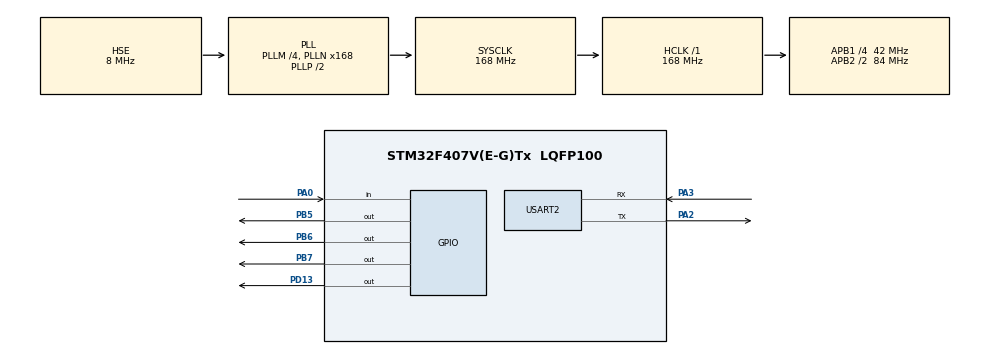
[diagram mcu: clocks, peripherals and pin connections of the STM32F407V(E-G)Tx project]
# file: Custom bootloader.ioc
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Mcu.Family=STM32F4
Mcu.Name=STM32F407V(E-G)Tx
Mcu.Package=LQFP100
NVIC.PriorityGroup=NVIC_PRIORITYGROUP_0
PA0-WKUP.Signal=GPIO_Input
PA2.Mode=Asynchronous
PA2.Signal=USART2_TX
PA3.Mode=Asynchronous
PA3.Signal=USART2_RX
PB5.Signal=GPIO_Output
PB6.Signal=GPIO_Output
PB7.Signal=GPIO_Output
PD13.Signal=GPIO_Output
PH0-OSC_IN.Mode=HSE-External-Oscillator
PH0-OSC_IN.Signal=RCC_OSC_IN
PH1-OSC_OUT.Mode=HSE-External-Oscillator
PH1-OSC_OUT.Signal=RCC_OSC_OUT
ProjectManager.HeapSize=0x200
ProjectManager.StackSize=0x400
ProjectManager.TargetToolchain=STM32CubeIDE
RCC.48MHZClocksFreq_Value=48000000
RCC.AHBFreq_Value=168000000
RCC.APB1CLKDivider=RCC_HCLK_DIV4
RCC.APB1Freq_Value=42000000
RCC.APB1TimFreq_Value=84000000
RCC.APB2CLKDivider=RCC_HCLK_DIV2
RCC.APB2Freq_Value=84000000
RCC.APB2TimFreq_Value=168000000
RCC.CortexFreq_Value=168000000
RCC.HCLKFreq_Value=168000000
RCC.HSE_VALUE=8000000
RCC.HSI_VALUE=16000000
RCC.LSE_VALUE=32768
RCC.PLLM=4
RCC.PLLN=168
RCC.PLLQ=7
RCC.PLLSourceVirtual=RCC_PLLSOURCE_HSE
RCC.SYSCLKFreq_VALUE=168000000
RCC.SYSCLKSource=RCC_SYSCLKSOURCE_PLLCLK
RCC.VCOOutputFreq_Value=336000000
USART2.Parity=PARITY_NONE
USART2.VirtualMode=VM_ASYNC
VP_CRC_VS_CRC.Mode=CRC_Activate
board=STM32F407G-DISC1

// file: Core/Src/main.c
/* USER CODE BEGIN Header */
/**
 ******************************************************************************
 * @file           : main.c
 * @brief          : Main program body — Geliştirilmiş Güvenli Bootloader
 ******************************************************************************
 * @attention
 *
 * Copyright (c) 2026 STMicroelectronics.
 * All rights reserved.
 *
 * This software is licensed under terms that can be found in the LICENSE file
 * in the root directory of this software component.
 * If no LICENSE file comes with this software, it is provided AS-IS.
 *
 ******************************************************************************
 */
/* USER CODE END Header */

/* USER CODE BEGIN Includes */

#include "main.h"
#include "aes.h"
#include "crc.h"
#include "gpio.h"
#include "usart.h"
#include <stdio.h>
#include <string.h>

#define ACK 0x06
#define NACK 0x15
#define APP_ADDRESS 0x08008000
#define PACKET_SIZE 128
#define VERSION_ADDRESS                                                        \
  0x0800FC00 // Son sektörün bir bölümü — versiyon bilgisi saklanır

// ── AES Key Flash Storage (Sector 1 = 0x08004000, 16KB) ──
// Format: [MAGIC:4] [AES_KEY:32] [CRC32:4] = 40 byte
#define KEY_STORAGE_ADDR 0x08004000
#define KEY_STORAGE_SECTOR FLASH_SECTOR_1
#define KEY_MAGIC 0xDEADBEEF
#define KEY_UPDATE_MAGIC                                                       \
  0xA5A5A5A5 // Şifresi çözülen paketteki doğrulama değeri

// LED Pinleri (PB5, PB6, PB7)
#define LED_ERROR_PORT GPIOB
#define LED_ERROR_PIN GPIO_PIN_5 // Hata LED'i
#define LED_TRANSFER_PORT GPIOB
#define LED_TRANSFER_PIN GPIO_PIN_6 // Transfer LED'i
#define LED_BOOT_PORT GPIOB
#define LED_BOOT_PIN GPIO_PIN_7 // Bootloader bekleme LED'i
#define HAL_MAX_DELAY 0xFFFFFFFFU

// Watchdog timeout ~4 saniye (LSI ≈ 32kHz, prescaler=64 → 500Hz, reload=2000 →
// 4s)
#define IWDG_PRESCALER_VAL 4 // Prescaler /64 (PR register value)
#define IWDG_RELOAD_VAL 2000

extern CRC_HandleTypeDef hcrc;
extern void MX_CRC_Init(void);
/* USER CODE END Includes */

/* USER CODE BEGIN PTD */

// Varsayılan AES key (ilk boot veya flash bozuk olduğunda kullanılır)
static const uint8_t DEFAULT_AES_KEY[32] = {
    0x31, 0x32, 0x33, 0x34, 0x35, 0x36, 0x37, 0x38, 0x39, 0x30, 0x31,
    0x32, 0x33, 0x34, 0x35, 0x36, 0x37, 0x38, 0x39, 0x30, 0x31, 0x32,
    0x33, 0x34, 0x35, 0x36, 0x37, 0x38, 0x39, 0x30, 0x31, 0x32};

// Aktif AES key — boot'ta flash'tan yüklenir
uint8_t AES_KEY[32];

uint8_t AES_IV[16] = {0x61, 0x62, 0x63, 0x64, 0x65, 0x66, 0x67, 0x68,
                      0x69, 0x6a, 0x6b, 0x6c, 0x6d, 0x6e, 0x6f, 0x70};

// Metadata yapısı — Python'dan ilk pakette gelir
typedef struct {
  uint32_t firmware_size;    // Firmware boyutu (byte)
  uint32_t firmware_version; // Firmware versiyonu
  uint32_t firmware_crc32;   // Tüm firmware'in CRC-32'si
} Firmware_Metadata_t;

// Watchdog — doğrudan register erişimi (HAL driver gerektirmez)

/* USER CODE END PTD */

/* USER CODE BEGIN PD */
void Bootloader_Menu(void);
void Bootloader_Handle_Secure_Write(void);
void Bootloader_Handle_Key_Update(void);
void Flash_Erase_Application(void);
void jump_to_application(void);
void LED_Set_Status(uint8_t status_code);
void LED_Blink_Error(uint8_t count);
void IWDG_Init(void);
uint32_t Flash_Read_Version(void);
void Flash_Write_Version(uint32_t version);
void load_key_from_flash(void);

// LED durum kodları
#define LED_STATUS_IDLE 0     // PB7 yanıp sönüyor
#define LED_STATUS_TRANSFER 1 // PB6 yanıyor
#define LED_STATUS_DONE 2     // PB5 yanıyor
#define LED_STATUS_ERROR 3    // Hepsi hızlı yanıp sönüyor

/* USER CODE END PD */

void SystemClock_Config(void);

/* USER CODE BEGIN 0 */

typedef struct {
  uint8_t sof;        // Start of Frame (0xAA)
  uint8_t command;    // Komut tipi
  uint16_t length;    // Veri uzunluğu
  uint8_t data[1024]; // Veri (Maksimum 1KB)
  uint32_t crc;       // Hata kontrolü
} Bootloader_Packet_t;

/* USER CODE END 0 */

int main(void) {

  /* MCU Configuration--------------------------------------------------------*/

  /* Reset of all peripherals, Initializes the Flash interface and the Systick.
   */
  HAL_Init();

  /* Configure the system clock */
  SystemClock_Config();

  /* Initialize all configured peripherals */
  MX_GPIO_Init();
  MX_USART2_UART_Init();
  MX_CRC_Init();
  /* USER CODE BEGIN 2 */
  SCB->VTOR = 0x08000000;

  // AES key'i flash'tan yükle (sector 1)
  load_key_from_flash();

  if (HAL_GPIO_ReadPin(GPIOA, GPIO_PIN_0) == GPIO_PIN_SET) {
    HAL_GPIO_WritePin(GPIOB, GPIO_PIN_7, GPIO_PIN_SET);
    Bootloader_Menu();
  } else {
    jump_to_application();
  }
  /* USER CODE END 2 */

  /* Infinite loop */
  while (1) {

  }
}

void SystemClock_Config(void) {
  RCC_OscInitTypeDef RCC_OscInitStruct = {0};
  RCC_ClkInitTypeDef RCC_ClkInitStruct = {0};

  /** Configure the main internal regulator output voltage
   */
  __HAL_RCC_PWR_CLK_ENABLE();
  __HAL_PWR_VOLTAGESCALING_CONFIG(PWR_REGULATOR_VOLTAGE_SCALE1);

  /** Initializes the RCC Oscillators according to the specified parameters
   * in the RCC_OscInitTypeDef structure.
   */
  RCC_OscInitStruct.OscillatorType =
      RCC_OSCILLATORTYPE_HSE | RCC_OSCILLATORTYPE_LSI;
  RCC_OscInitStruct.HSEState = RCC_HSE_ON;
  RCC_OscInitStruct.LSIState = RCC_LSI_ON; // Watchdog için LSI gerekli
  RCC_OscInitStruct.PLL.PLLState = RCC_PLL_ON;
  RCC_OscInitStruct.PLL.PLLSource = RCC_PLLSOURCE_HSE;
  RCC_OscInitStruct.PLL.PLLM = 4;
  RCC_OscInitStruct.PLL.PLLN = 168;
  RCC_OscInitStruct.PLL.PLLP = RCC_PLLP_DIV2;
  RCC_OscInitStruct.PLL.PLLQ = 7;
  if (HAL_RCC_OscConfig(&RCC_OscInitStruct) != HAL_OK) {
    Error_Handler();
  }

  /** Initializes the CPU, AHB and APB buses clocks
   */
  RCC_ClkInitStruct.ClockType = RCC_CLOCKTYPE_HCLK | RCC_CLOCKTYPE_SYSCLK |
                                RCC_CLOCKTYPE_PCLK1 | RCC_CLOCKTYPE_PCLK2;
  RCC_ClkInitStruct.SYSCLKSource = RCC_SYSCLKSOURCE_PLLCLK;
  RCC_ClkInitStruct.AHBCLKDivider = RCC_SYSCLK_DIV1;
  RCC_ClkInitStruct.APB1CLKDivider = RCC_HCLK_DIV4;
  RCC_ClkInitStruct.APB2CLKDivider = RCC_HCLK_DIV2;

  if (HAL_RCC_ClockConfig(&RCC_ClkInitStruct, FLASH_LATENCY_5) != HAL_OK) {
    Error_Handler();
  }
}

/* USER CODE BEGIN 4 */

// =========================================================================
// [5] WATCHDOG TIMER — Doğrudan register erişimi (HAL driver gerektirmez)
// =========================================================================
void IWDG_Init(void) {
  IWDG->KR = 0x5555;             // Register yazma izni aç
  IWDG->PR = IWDG_PRESCALER_VAL; // Prescaler = /64
  IWDG->RLR = IWDG_RELOAD_VAL;   // Reload = 2000
  while (IWDG->SR) {
  }                  // Güncelleme bitene kadar bekle
  IWDG->KR = 0xCCCC; // Watchdog'u başlat
}

void IWDG_Refresh(void) {
  IWDG->KR = 0xAAAA; // Sayacı resetle (besle)
}

// =========================================================================
// [3] LED DURUM GÖSTERİMİ
// =========================================================================
void LED_All_Off(void) {
  HAL_GPIO_WritePin(LED_BOOT_PORT, LED_BOOT_PIN, GPIO_PIN_RESET);
  HAL_GPIO_WritePin(LED_TRANSFER_PORT, LED_TRANSFER_PIN, GPIO_PIN_RESET);
  HAL_GPIO_WritePin(LED_ERROR_PORT, LED_ERROR_PIN, GPIO_PIN_RESET);
}

void LED_Set_Status(uint8_t status_code) {
  LED_All_Off();
  switch (status_code) {
  case LED_STATUS_IDLE:
    HAL_GPIO_WritePin(LED_BOOT_PORT, LED_BOOT_PIN, GPIO_PIN_SET);
    break;
  case LED_STATUS_TRANSFER:
    HAL_GPIO_WritePin(LED_TRANSFER_PORT, LED_TRANSFER_PIN, GPIO_PIN_SET);
    break;
  case LED_STATUS_DONE:
    HAL_GPIO_WritePin(LED_ERROR_PORT, LED_ERROR_PIN, GPIO_PIN_SET);
    break;
  case LED_STATUS_ERROR:
    // Hepsi yanıp sönsün (çağıran fonksiyon blink yapacak)
    HAL_GPIO_WritePin(LED_BOOT_PORT, LED_BOOT_PIN, GPIO_PIN_SET);
    HAL_GPIO_WritePin(LED_TRANSFER_PORT, LED_TRANSFER_PIN, GPIO_PIN_SET);
    HAL_GPIO_WritePin(LED_ERROR_PORT, LED_ERROR_PIN, GPIO_PIN_SET);
    break;
  }
}

void LED_Blink_Error(uint8_t count) {
  for (uint8_t i = 0; i < count; i++) {
    LED_Set_Status(LED_STATUS_ERROR);
    HAL_Delay(150);
    LED_All_Off();
    HAL_Delay(150);
    IWDG_Refresh();
  }
}

void LED_Blink_Idle(void) {
  HAL_GPIO_TogglePin(LED_BOOT_PORT, LED_BOOT_PIN);
  HAL_Delay(300);
}

// =========================================================================
// CRC-32 HESAPLAMA (Software — zlib uyumlu)
// =========================================================================
uint32_t Calculate_CRC32(const uint8_t *data, uint32_t length_bytes) {
  uint32_t crc = 0xFFFFFFFF;
  for (uint32_t i = 0; i < length_bytes; i++) {
    crc ^= data[i];
    for (int j = 0; j < 8; j++) {
      if (crc & 1)
        crc = (crc >> 1) ^ 0xEDB88320;
      else
        crc >>= 1;
    }
  }
  return crc ^ 0xFFFFFFFF;
}

// =========================================================================
// [1] FİRMWARE BÜTÜNLÜK KONTROLÜ — Flash'a yazılan tüm verinin CRC'si
// =========================================================================
uint32_t Calculate_Flash_CRC32(uint32_t start_addr, uint32_t length) {
  uint32_t crc = 0xFFFFFFFF;
  uint8_t *ptr = (uint8_t *)start_addr;
  for (uint32_t i = 0; i < length; i++) {
    crc ^= ptr[i];
    for (int j = 0; j < 8; j++) {
      if (crc & 1)
        crc = (crc >> 1) ^ 0xEDB88320;
      else
        crc >>= 1;
    }
    // Her 4KB'da bir watchdog besle
    if (i % 4096 == 0)
      IWDG_Refresh();
  }
  return crc ^ 0xFFFFFFFF;
}

// =========================================================================
// [6] VERSİYON KONTROLÜ — Flash'ta saklanan versiyon numarası
// =========================================================================
uint32_t Flash_Read_Version(void) {
  return *(volatile uint32_t *)VERSION_ADDRESS;
}

void Flash_Write_Version(uint32_t version) {
  HAL_FLASH_Unlock();
  // Versiyon adresi aynı sektör içindeyse dikkatli ol
  HAL_FLASH_Program(FLASH_TYPEPROGRAM_WORD, VERSION_ADDRESS, version);
  HAL_FLASH_Lock();
}

// =========================================================================
// AES KEY FLASH YÖNETİMİ
// =========================================================================

/**
 * Flash'tan AES key yükle.
 * Format: [MAGIC:4][KEY:32][CRC:4] = 40 byte @ 0x08004000
 * Geçersizse varsayılan key kullanılır.
 */
void load_key_from_flash(void) {
  volatile uint32_t *flash_ptr = (volatile uint32_t *)KEY_STORAGE_ADDR;

  if (flash_ptr[0] == KEY_MAGIC) {
    // Key verisini oku
    memcpy(AES_KEY, (uint8_t *)(KEY_STORAGE_ADDR + 4), 32);

    // CRC ile bütünlük kontrolü
    uint32_t stored_crc = *(volatile uint32_t *)(KEY_STORAGE_ADDR + 36);
    uint32_t calc_crc = Calculate_CRC32(AES_KEY, 32);

    if (stored_crc == calc_crc) {
      return; // Key başarıyla yüklendi
    }
  }

  // Flash boş veya bozuk → varsayılan key kullan
  memcpy(AES_KEY, DEFAULT_AES_KEY, 32);
}

/**
 * Yeni AES key'i flash'a yaz (sector 1).
 * Sector silme + yazma işlemi atomik değil; güç kesilirse varsayılan key'e
 * döner.
 */
static uint8_t save_key_to_flash(const uint8_t *new_key) {
  uint32_t key_crc = Calculate_CRC32(new_key, 32);

  HAL_FLASH_Unlock();

  // Sector 1'i sil
  FLASH_EraseInitTypeDef erase;
  erase.TypeErase = FLASH_TYPEERASE_SECTORS;
  erase.Sector = KEY_STORAGE_SECTOR;
  erase.NbSectors = 1;
  erase.VoltageRange = FLASH_VOLTAGE_RANGE_3;
  uint32_t error;

  if (HAL_FLASHEx_Erase(&erase, &error) != HAL_OK) {
    HAL_FLASH_Lock();
    return 0;
  }

  // Magic yaz
  if (HAL_FLASH_Program(FLASH_TYPEPROGRAM_WORD, KEY_STORAGE_ADDR, KEY_MAGIC) !=
      HAL_OK) {
    HAL_FLASH_Lock();
    return 0;
  }

  // Key yaz (32 byte = 8 word)
  for (int i = 0; i < 8; i++) {
    uint32_t word = *(uint32_t *)(&new_key[i * 4]);
    if (HAL_FLASH_Program(FLASH_TYPEPROGRAM_WORD,
                          KEY_STORAGE_ADDR + 4 + (i * 4), word) != HAL_OK) {
      HAL_FLASH_Lock();
      return 0;
    }
  }

  // CRC yaz
  if (HAL_FLASH_Program(FLASH_TYPEPROGRAM_WORD, KEY_STORAGE_ADDR + 36,
                        key_crc) != HAL_OK) {
    HAL_FLASH_Lock();
    return 0;
  }

  HAL_FLASH_Lock();
  return 1;
}

// =========================================================================
// GÜVENLİ AES KEY GÜNCELLEMESİ
// =========================================================================
/**
 * Güvenli key güncelleme protokolü:
 *
 * 1. PC 'K' gönderir
 * 2. STM32 ACK gönderir
 * 3. PC şu paketi gönderir (68 byte):
 *    [IV:16] + [AES_CBC(current_key, IV, new_key(32) + 0xA5A5A5A5(4) +
 * padding(12)):48] + [CRC32:4]
 *
 * 4. STM32:
 *    a) CRC-32 doğrula (şifreli 48 byte üzerinden)
 *    b) Mevcut key ile şifre çöz
 *    c) Magic (0xA5A5A5A5) doğrula → doğru key ile şifrelendiğini kanıtlar
 *    d) Yeni key'i flash'a yaz
 *    e) RAM'deki aktif key'i güncelle
 *
 * Güvenlik:
 * - Yeni key, mevcut key ile şifreli gönderilir → dinleyici okuyamaz
 * - Magic doğrulaması → yanlış key ile gönderim reddedilir
 * - CRC → iletim bütünlüğü
 * - Flash RDP Level 1 önerilir → debug probe ile okunamaz
 */
void Bootloader_Handle_Key_Update(void) {
  uint8_t rx_buf[68]; // IV(16) + encrypted(48) + CRC(4)
  uint8_t ack = ACK;
  uint8_t nack = NACK;

  // Hazır sinyali gönder
  HAL_UART_Transmit(&huart2, &ack, 1, 100);

  // Paketi al (68 byte, 10sn timeout)
  if (HAL_UART_Receive(&huart2, rx_buf, 68, 10000) != HAL_OK) {
    HAL_UART_Transmit(&huart2, &nack, 1, 100);
    return;
  }

  uint8_t *iv_ptr = &rx_buf[0];         // 16 byte IV
  uint8_t *encrypted_ptr = &rx_buf[16]; // 48 byte encrypted
  uint32_t received_crc = *(uint32_t *)(&rx_buf[64]);

  // 1. CRC doğrula (şifreli veri üzerinden)
  uint32_t computed_crc = Calculate_CRC32(encrypted_ptr, 48);
  if (computed_crc != received_crc) {
    HAL_UART_Transmit(&huart2, &nack, 1, 100);
    return;
  }

  // 2. Mevcut key ile şifre çöz
  struct AES_ctx ctx;
  AES_init_ctx_iv(&ctx, AES_KEY, iv_ptr);
  AES_CBC_decrypt_buffer(&ctx, encrypted_ptr, 48);

  // 3. Decrypted yapı: [new_key:32][magic:4][padding:12]
  uint32_t magic = *(uint32_t *)(&encrypted_ptr[32]);
  if (magic != KEY_UPDATE_MAGIC) {
    // Yanlış mevcut key ile şifrelenmiş veya bozuk paket
    HAL_UART_Transmit(&huart2, &nack, 1, 100);
    return;
  }

  // 4. Yeni key'i çıkar
  uint8_t new_key[32];
  memcpy(new_key, encrypted_ptr, 32);

  // 5. Yeni key'in geçerliliğini kontrol et
  //    Tamamı 0x00 veya 0xFF olan key kabul edilmez
  uint8_t all_zero = 1, all_ff = 1;
  for (int i = 0; i < 32; i++) {
    if (new_key[i] != 0x00)
      all_zero = 0;
    if (new_key[i] != 0xFF)
      all_ff = 0;
  }
  if (all_zero || all_ff) {
    HAL_UART_Transmit(&huart2, &nack, 1, 100);
    return;
  }

  // 6. Flash'a kaydet
  if (!save_key_to_flash(new_key)) {
    LED_Blink_Error(5);
    HAL_UART_Transmit(&huart2, &nack, 1, 100);
    return;
  }

  // 7. RAM'deki aktif key'i güncelle
  memcpy(AES_KEY, new_key, 32);

  // 8. Başarı
  HAL_UART_Transmit(&huart2, &ack, 1, 100);
}

// =========================================================================
// BOOTLOADER MENÜ — Komut bekleme
// =========================================================================
void Bootloader_Menu(void) {
  uint8_t rx_byte;

  while (1) {
    if (HAL_UART_Receive(&huart2, &rx_byte, 1, HAL_MAX_DELAY) == HAL_OK) {
      if (rx_byte == 'W' || rx_byte == 'w') {
        Bootloader_Handle_Secure_Write();
      } else if (rx_byte == 'K' || rx_byte == 'k') {
        Bootloader_Handle_Key_Update();
      }
    }
  }
}

// =========================================================================
// ANA GÜNCELLEME FONKSİYONU — Tüm 6 özellik entegre
// =========================================================================
void Bootloader_Handle_Secure_Write(void) {
  uint8_t rx_buffer[148];  // 16 IV + 128 Encrypted + 4 CRC
  uint8_t meta_buffer[12]; // [4] Metadata: size(4) + version(4) + fw_crc(4)
  uint32_t current_addr = APP_ADDRESS;
  struct AES_ctx ctx;
  uint8_t ack = ACK;
  uint8_t nack = NACK;
  Firmware_Metadata_t metadata;
  uint32_t packets_received = 0;
  uint32_t total_packets = 0;

  // ─── 1. Hemen ACK gönder ("W aldım, hazırım") ───

  HAL_UART_Transmit(&huart2, &ack, 1, 100);
  LED_Set_Status(LED_STATUS_TRANSFER);
  // ─── 2. Metadata paketi al: [fw_size:4][fw_version:4][fw_crc32:4] = 12 byte
  // ───
  HAL_StatusTypeDef meta_status =
      HAL_UART_Receive(&huart2, meta_buffer, 12, 10000);
  if (meta_status != HAL_OK) {
    LED_Blink_Error(5);
    HAL_UART_Transmit(&huart2, &nack, 1, 100);
    return;
  }

  // Metadata parse et
  metadata.firmware_size = *(uint32_t *)(&meta_buffer[0]);
  metadata.firmware_version = *(uint32_t *)(&meta_buffer[4]);
  metadata.firmware_crc32 = *(uint32_t *)(&meta_buffer[8]);
  total_packets = (metadata.firmware_size + PACKET_SIZE - 1) / PACKET_SIZE;

  // Metadata ACK gönder ("metadata aldım, flash siliyorum")
  HAL_UART_Transmit(&huart2, &ack, 1, 100);

  // ─── 3. ŞİMDİ flash sil (UART iletişimi bitti, Python ACK bekliyor) ───
  Flash_Erase_Application();

  // Flash silindi ACK ("paketleri gönderebilirsin")
  HAL_UART_Transmit(&huart2, &ack, 1, 100);

  // ─── 4. Paket alma döngüsü ───
  while (1) {

    // [3] Transfer LED'ini toggle et (aktif gösterge)
    HAL_GPIO_TogglePin(LED_TRANSFER_PORT, LED_TRANSFER_PIN);

    // Paketi bekle: [IV:16] + [Encrypted:128] + [CRC:4] = 148 byte
    HAL_StatusTypeDef status = HAL_UART_Receive(&huart2, rx_buffer, 148, 10000);

    if (status == HAL_OK) {
      uint8_t *iv_ptr = &rx_buffer[0];
      uint8_t *encrypted_ptr = &rx_buffer[16];
      uint32_t received_crc = *(uint32_t *)(&rx_buffer[144]);

      // CRC-32 doğrulaması (şifreli veri üzerinden)
      uint32_t computed_crc = Calculate_CRC32(encrypted_ptr, 128);

      if (computed_crc != received_crc) {
        HAL_UART_Transmit(&huart2, &nack, 1, 100);
        continue;
      }

      // AES-256 CBC şifre çözme
      AES_init_ctx_iv(&ctx, AES_KEY, iv_ptr);
      AES_CBC_decrypt_buffer(&ctx, encrypted_ptr, 128);

      if (current_addr == APP_ADDRESS) {
        uint32_t msp_val = *(uint32_t *)encrypted_ptr;
        if ((msp_val & 0xFFF00000) != 0x20000000) {
          HAL_UART_Transmit(&huart2, &nack, 1, 100);
          return;
        }
      }

      // ─── [2] Flash'a yaz + Read-back doğrulaması ───
      HAL_FLASH_Unlock();
      uint8_t flash_error = 0;
      for (int i = 0; i < 128; i += 4) {
        uint32_t data = *(uint32_t *)(&encrypted_ptr[i]);

        if (HAL_FLASH_Program(FLASH_TYPEPROGRAM_WORD, current_addr, data) !=
            HAL_OK) {
          flash_error = 1;
          break;
        }

        // [2] READ-BACK DOĞRULAMASI
        uint32_t readback = *(volatile uint32_t *)current_addr;
        if (readback != data) {
          flash_error = 2;
          break;
        }

        current_addr += 4;
      }
      HAL_FLASH_Lock();

      if (flash_error) {
        HAL_UART_Transmit(&huart2, &nack, 1, 100);
        return;
      }

      packets_received++;

      // ACK gönder (sadece 1 byte)
      HAL_UART_Transmit(&huart2, &ack, 1, 100);
    } else if (status == HAL_TIMEOUT) {
      // Tüm paketler alındıysa veya timeout olduysa bitir
      break;
    }
  }

  // ─── FİNAL: CRC doğrulaması ───
  uint32_t flash_crc =
      Calculate_Flash_CRC32(APP_ADDRESS, metadata.firmware_size);

  if (flash_crc != metadata.firmware_crc32) {
    HAL_UART_Transmit(&huart2, &nack, 1, 100);
    return;
  }

  // Versiyon kaydet
  Flash_Write_Version(metadata.firmware_version);

  // Final ACK (başarılı)
  HAL_UART_Transmit(&huart2, &ack, 1, 100);

  HAL_Delay(1000);
  jump_to_application();
}

void jump_to_application(void) {
  uint32_t jump_addr = *(uint32_t *)(APP_ADDRESS + 4);
  void (*app_reset_handler)(void) = (void (*)(void))jump_addr;

  __disable_irq(); // Kesmeleri kapat
  HAL_RCC_DeInit();
  HAL_DeInit();
  SysTick->CTRL = 0;

  __set_MSP(*(uint32_t *)APP_ADDRESS); // MSP ayarla
  app_reset_handler();                 // Uygulama başlasın!
}

void Flash_Erase_Application(void) {
  HAL_FLASH_Unlock();
  FLASH_EraseInitTypeDef EraseInitStruct;
  uint32_t SectorError;

  EraseInitStruct.TypeErase = FLASH_TYPEERASE_SECTORS;
  EraseInitStruct.VoltageRange = FLASH_VOLTAGE_RANGE_3;
  EraseInitStruct.Sector = FLASH_SECTOR_2;
  EraseInitStruct.NbSectors = 6;

  if (HAL_FLASHEx_Erase(&EraseInitStruct, &SectorError) != HAL_OK) {
    // Erase hatası — fonksiyon çağıranı kontrol edecek
  }
  HAL_FLASH_Lock();
}

/* USER CODE END 4 */

void Error_Handler(void) {
  __disable_irq();
  while (1) {
  }
}
#ifdef USE_FULL_ASSERT
/**
 * @brief  Reports the name of the source file and the source line number
 *         where the assert_param error has occurred.
 * @param  file: pointer to the source file name
 * @param  line: assert_param error line source number
 * @retval None
 */
void assert_failed(uint8_t *file, uint32_t line) {
  /* USER CODE BEGIN 6 */
  /* User can add his own implementation to report the file name and line
     number, ex: printf("Wrong parameters value: file %s on line %d\r\n", file,
     line) */
  /* USER CODE END 6 */
}
#endif /* USE_FULL_ASSERT */
